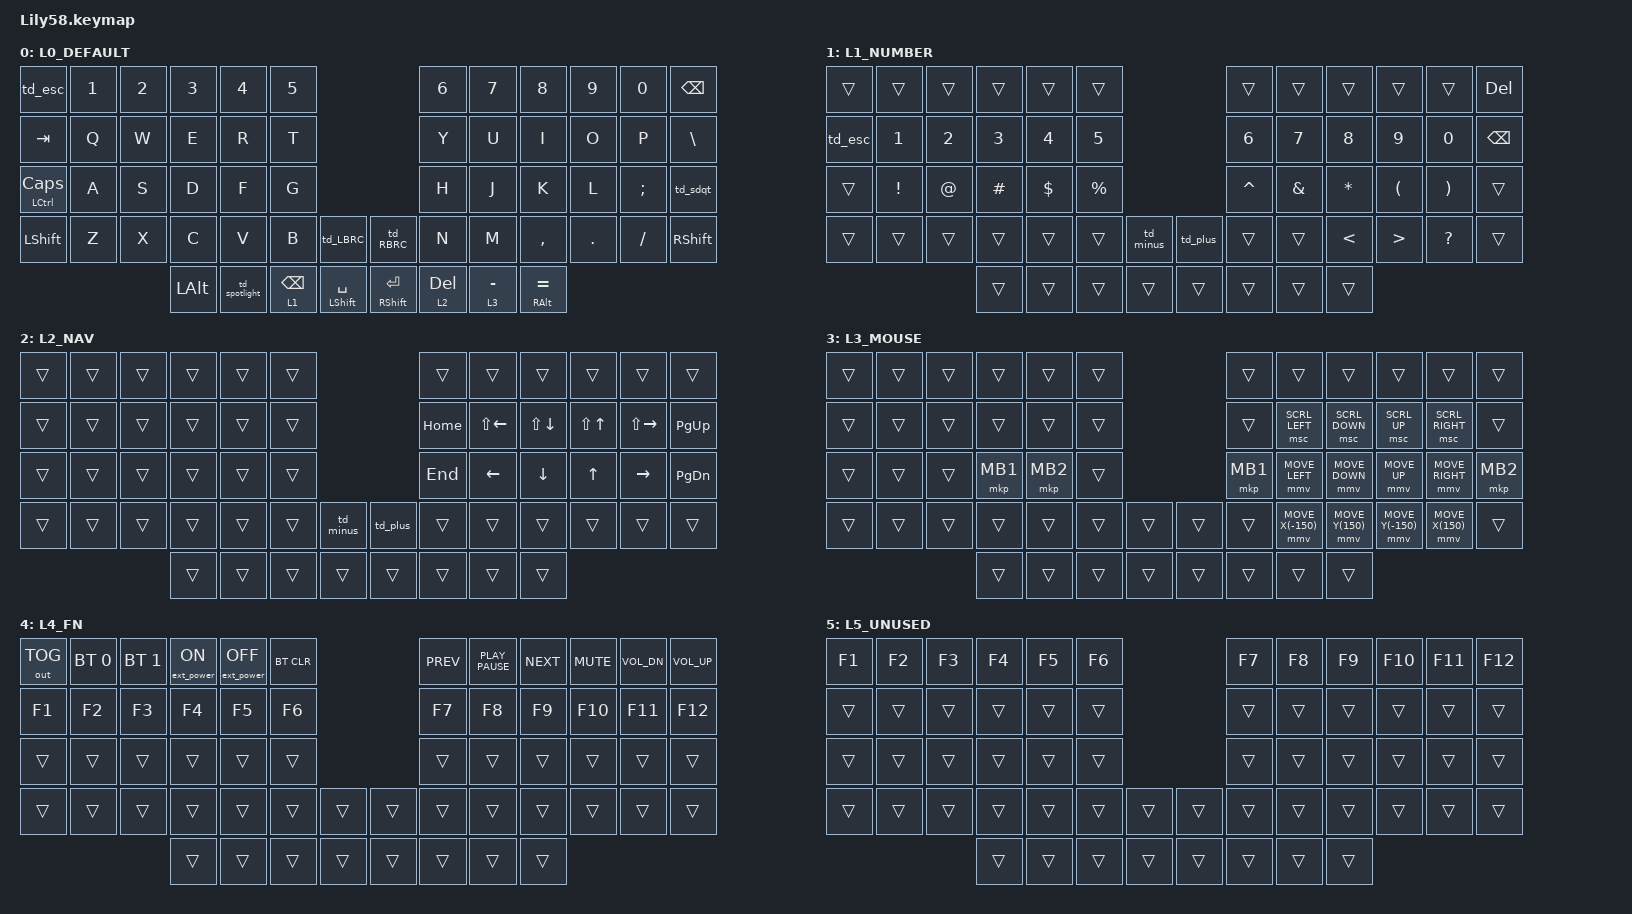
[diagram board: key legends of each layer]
/*
 * Copyright (c) 2020 The ZMK Contributors
 *
 * SPDX-License-Identifier: MIT
 */

#include <behaviors.dtsi>
#include <dt-bindings/zmk/bt.h>
#include <dt-bindings/zmk/ext_power.h>
#include <dt-bindings/zmk/keys.h>
#include <dt-bindings/zmk/outputs.h>
#include <dt-bindings/zmk/pointing.h>

#define ZMK_POINTING_DEFAULT_MOVE_VAL 600  // default: 600
#define ZMK_POINTING_DEFAULT_SCRL_VAL 10    // default: 10

/ {
    conditional_layers { compatible = "zmk,conditional-layers"; };

    behaviors {
        td_esc: td_esc {
            compatible = "zmk,behavior-tap-dance";
            label = "TD_ESC";
            #binding-cells = <0>;
            bindings = <&kp GRAVE>, <&kp ESC>;

            tapping-term-ms = <200>;
        };

        td_sdqt: td_sdqt {
            compatible = "zmk,behavior-tap-dance";
            label = "TD_SDQT";
            #binding-cells = <0>;
            bindings = <&kp SINGLE_QUOTE>, <&kp DQT>;
        };

        td_spotlight: td_spotlight {
            compatible = "zmk,behavior-tap-dance";
            label = "TD_SPOTLIGHT";
            #binding-cells = <0>;
            bindings = <&kp LGUI>, <&kp LG(SPACE)>, <&none>;
        };

        td_minus: td_minus {
            compatible = "zmk,behavior-tap-dance";
            label = "TD_MINUS";
            #binding-cells = <0>;
            bindings = <&kp MINUS>, <&kp LS(MINUS)>;
        };

        td_plus: td_plus {
            compatible = "zmk,behavior-tap-dance";
            label = "TD_PLUS";
            #binding-cells = <0>;
            bindings = <&kp EQUAL>, <&kp PLUS>;
        };

        td_LBRC: td_LBRC {
            compatible = "zmk,behavior-tap-dance";
            label = "TD_LBRC";
            #binding-cells = <0>;
            bindings = <&kp LBKT>, <&kp LBRC>;
        };

        td_RBRC: td_RBRC {
            compatible = "zmk,behavior-tap-dance";
            label = "TD_RBRC";
            #binding-cells = <0>;
            bindings = <&kp RBKT>, <&kp RBRC>;
        };
    };

    combos {
        compatible = "zmk,combos";

        CB_L4 {
            bindings = <&mo 4>;
            key-positions = <42 52>;
        };
    };

    keymap {
        compatible = "zmk,keymap";

        L0_DEFAULT {
            // ------------------------------------------------------------------------------------------------------------
            // |  ESC  |  1  |  2  |  3  |  4  |  5  |                   |  6  |  7  |  8  |  9  |  0  | BACKSP |
            // |  TAB  |  Q  |  W  |  E  |  R  |  T  |                   |  Y  |  U  |  I  |  O  |  P  | BSLS  |
            // | CTRL |  A  |  S  |  D  |  F  |  G  |                   |  H  |  J  |  K  |  L  |  ;  |  '   |
            // | SHIFT |  Z  |  X  |  C  |  V  |  B  |  [  |  ]  |  N  |  M  |  ,  |  .  |  /  | SHIFT |
            //                     | ALT  | GUI  | LT1 | BSPC | SPACE | RET | MO2 | MO3 | GLOBE |

            bindings = <
&td_esc         &kp N1  &kp N2  &kp N3    &kp N4         &kp N5                                          &kp N6        &kp N7       &kp N8               &kp N9   &kp N0    &kp BACKSPACE
&kp TAB         &kp Q   &kp W   &kp E     &kp R          &kp T                                           &kp Y         &kp U        &kp I                &kp O    &kp P     &kp BACKSLASH
&mt LCTRL CAPS  &kp A   &kp S   &kp D     &kp F          &kp G                                           &kp H         &kp J        &kp K                &kp L    &kp SEMI  &td_sdqt
&kp LSHFT       &kp Z   &kp X   &kp C     &kp V          &kp B       &td_LBRC           &td_RBRC         &kp N         &kp M        &kp COMMA            &kp DOT  &kp FSLH  &kp RSHFT
                                &kp LALT  &td_spotlight  &lt 1 BSPC  &mt LSHFT SPACE    &mt RSHFT ENTER  &lt 2 DELETE  &lt 3 MINUS  &mt RIGHT_ALT EQUAL
            >;

            // sensor-bindings = <&inc_dec_kp C_VOL_UP C_VOL_DN &inc_dec_kp PG_UP PG_DN>;
        };

        L1_NUMBER {
            // ------------------------------------------------------------------------------------------------------------
            // |  F1 |  F2 |  F3 |  F4 |  F5 |  F6 |                  |  F7 |  F8 |  F9 | F10 | F11 | F12 |
            // | TRANS   |  1  |  2  |   3   |   4   |   5   |               |  6   |  7   |  8   |  9   |  0   | TRANS |
            // | TRANS   |  !  |  @  |   #   |   $   |   %   |               |  ^   |  &   |  *   |  (   |  )   | TRANS |
            // | TRANS   | TRANS| TRANS| TRANS| TRANS| TRANS|  -  |  =  | TRANS| TRANS| TRANS| TRANS| TRANS| TRANS |
            //                     | TRANS | TRANS | TRANS | TRANS | TRANS | TRANS | TRANS | TRANS |

            bindings = <
&trans   &trans    &trans  &trans    &trans      &trans                            &trans     &trans    &trans     &trans    &trans        &kp DEL
&td_esc  &kp N1    &kp N2  &kp N3    &kp N4      &kp N5                            &kp N6     &kp N7    &kp N8     &kp N9    &kp N0        &kp BACKSPACE
&trans   &kp EXCL  &kp AT  &kp HASH  &kp DOLLAR  &kp PRCNT                         &kp CARET  &kp AMPS  &kp ASTRK  &kp LPAR  &kp RPAR      &trans
&trans   &trans    &trans  &trans    &trans      &trans     &td_minus    &td_plus  &trans     &trans    &kp LT     &kp GT    &kp QUESTION  &trans
                           &trans    &trans      &trans     &trans       &trans    &trans     &trans    &trans
            >;

            //sensor-bindings = <&inc_dec_kp C_VOL_UP C_VOL_DN &inc_dec_kp PG_UP PG_DN>;
        };

        L2_NAV {
            // ----------------------------------------------------------------------------------------------------------------------------
            // |  F1 |  F2 |  F3 |  F4 |  F5 |  F6 |                  |  F7 |  F8 |  F9 | F10 | F11 | F12 |
            // | TRANS | TRANS | TRANS | TRANS | TRANS | TRANS |       | TRANS | TRANS | UP | TRANS | TRANS | TRANS |
            // | TRANS | TRANS | TRANS | TRANS | TRANS | TRANS |       | TRANS | LEFT | DOWN | RIGHT | TRANS | TRANS |
            // | TRANS | TRANS | TRANS | TRANS | TRANS | TRANS | TRANS | TRANS | TRANS | TRANS | TRANS | TRANS | TRANS | TRANS |
            //                    | TRANS | TRANS | TRANS | TRANS | TRANS | TRANS | TRANS | TRANS |

            bindings = <
&trans  &trans  &trans  &trans  &trans  &trans                         &trans    &trans        &trans        &trans      &trans         &trans
&trans  &trans  &trans  &trans  &trans  &trans                         &kp HOME  &kp LS(LEFT)  &kp LS(DOWN)  &kp LS(UP)  &kp LS(RIGHT)  &kp PAGE_UP
&trans  &trans  &trans  &trans  &trans  &trans                         &kp END   &kp LEFT      &kp DOWN      &kp UP      &kp RIGHT      &kp PAGE_DOWN
&trans  &trans  &trans  &trans  &trans  &trans  &td_minus    &td_plus  &trans    &trans        &trans        &trans      &trans         &trans
                        &trans  &trans  &trans  &trans       &trans    &trans    &trans        &trans
            >;

            //sensor-bindings = <&inc_dec_kp C_VOL_UP C_VOL_DN>;
        };

        L3_MOUSE {
            // ----------------------------------------------------------------------------------------------------------------------------
            // |  F1 |  F2 |  F3 |  F4 |  F5 |  F6 |                  |  F7 |  F8 |  F9 | F10 | F11 | F12 |
            // | TRANS | TRANS | TRANS | TRANS | TRANS | TRANS |       | TRANS | TRANS | UP | TRANS | TRANS | TRANS |
            // | TRANS | TRANS | TRANS | TRANS | TRANS | TRANS |       | TRANS | LEFT | DOWN | RIGHT | TRANS | TRANS |
            // | TRANS | TRANS | TRANS | TRANS | TRANS | TRANS | TRANS | TRANS | TRANS | TRANS | TRANS | TRANS | TRANS | TRANS |
            //                    | TRANS | TRANS | TRANS | TRANS | TRANS | TRANS | TRANS | TRANS |

            bindings = <
&trans  &trans  &trans  &trans    &trans    &trans                    &trans    &trans             &trans             &trans            &trans            &trans
&trans  &trans  &trans  &trans    &trans    &trans                    &trans    &msc SCRL_LEFT     &msc SCRL_DOWN     &msc SCRL_UP      &msc SCRL_RIGHT   &trans
&trans  &trans  &trans  &mkp MB1  &mkp MB2  &trans                    &mkp MB1  &mmv MOVE_LEFT     &mmv MOVE_DOWN     &mmv MOVE_UP      &mmv MOVE_RIGHT   &mkp MB2
&trans  &trans  &trans  &trans    &trans    &trans  &trans    &trans  &trans    &mmv MOVE_X(-150)  &mmv MOVE_Y(150)  &mmv MOVE_Y(-150)  &mmv MOVE_X(150)  &trans
                        &trans    &trans    &trans  &trans    &trans  &trans    &trans             &trans
            >;

            //sensor-bindings = <&inc_dec_kp C_VOL_UP C_VOL_DN>;
        };

        L4_FN {
            bindings = <
&out OUT_TOG  &bt BT_SEL 0  &bt BT_SEL 1  &ext_power EP_ON  &ext_power EP_OFF  &bt BT_CLR                    &kp K_PREV  &kp K_PLAY_PAUSE  &kp K_NEXT  &kp K_MUTE  &kp C_VOL_DN  &kp C_VOL_UP
&kp F1        &kp F2        &kp F3        &kp F4            &kp F5             &kp F6                        &kp F7      &kp F8            &kp F9      &kp F10     &kp F11       &kp F12
&trans        &trans        &trans        &trans            &trans             &trans                        &trans      &trans            &trans      &trans      &trans        &trans
&trans        &trans        &trans        &trans            &trans             &trans      &trans    &trans  &trans      &trans            &trans      &trans      &trans        &trans
                                          &trans            &trans             &trans      &trans    &trans  &trans      &trans            &trans
            >;
        };

        L5_UNUSED {
            bindings = <
&kp F1  &kp F2  &kp F3  &kp F4  &kp F5  &kp F6                    &kp F7  &kp F8  &kp F9  &kp F10  &kp F11  &kp F12
&trans  &trans  &trans  &trans  &trans  &trans                    &trans  &trans  &trans  &trans   &trans   &trans
&trans  &trans  &trans  &trans  &trans  &trans                    &trans  &trans  &trans  &trans   &trans   &trans
&trans  &trans  &trans  &trans  &trans  &trans  &trans    &trans  &trans  &trans  &trans  &trans   &trans   &trans
                        &trans  &trans  &trans  &trans    &trans  &trans  &trans  &trans
            >;
        };
    };
};
